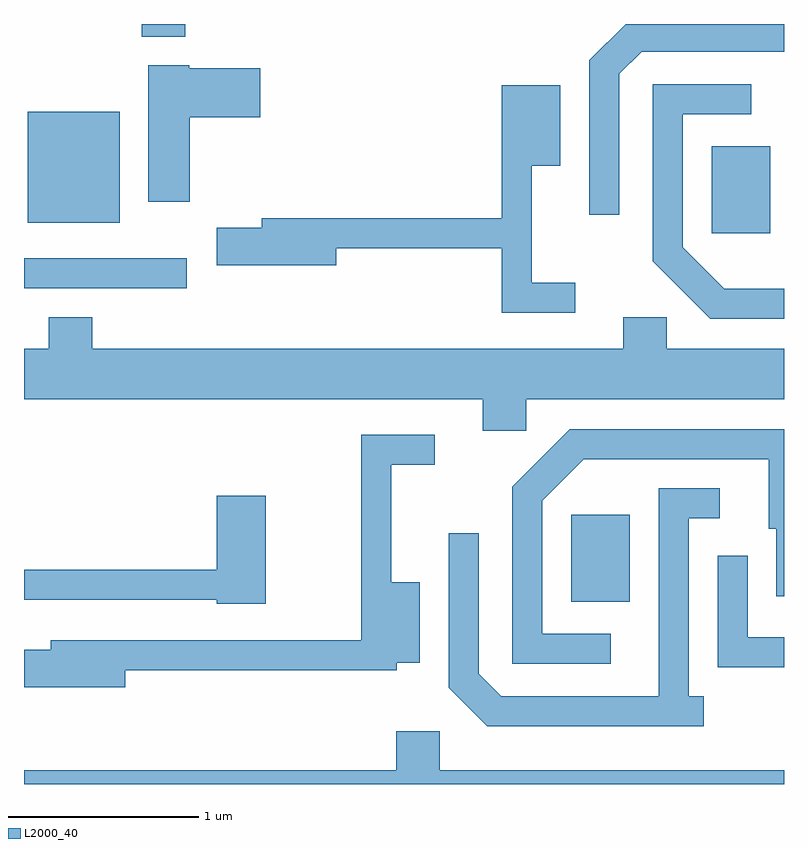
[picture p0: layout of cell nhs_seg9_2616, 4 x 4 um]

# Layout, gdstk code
import gdstk
lib = gdstk.Library(unit=1e-6, precision=1e-09)
def R(c, l, rs):  # rectangles x0, y0, x1, y1
    for r in rs: c.add(gdstk.rectangle(r[:2], r[2:], *l))
def P(c, l, *ps):  # polygons
    for p in ps: c.add(gdstk.Polygon(p, *l))
L2000_40 = (2000, 40)

nhs_seg9_2616 = lib.new_cell('nhs_seg9_2616')
R(nhs_seg9_2616, L2000_40, [(264.491,2017.391,264.799,2017.849), (261.611,2019.041,262.468,2019.199), (265.231,2019.331,265.539,2019.789), (261.631,2019.386,262.114,2019.969), (262.231,2020.366,262.459,2020.432)])
P(nhs_seg9_2616, L2000_40, [(264.744,2020.169),(264.862,2020.286),(265.611,2020.286),(265.611,2020.432),(264.777,2020.432),(264.586,2020.242),(264.586,2019.428),(264.744,2019.428)],
  [(262.484,2019.941),(262.854,2019.941),(262.854,2020.199),(262.48,2020.199),(262.48,2020.214),(262.266,2020.214),(262.266,2019.496),(262.484,2019.496)],
  [(265.611,2019.039),(265.297,2019.039),(265.079,2019.257),(265.079,2019.956),(265.438,2019.956),(265.438,2020.114),(264.921,2020.114),(264.921,2019.184),(265.224,2018.881),(265.611,2018.881)],
  [(264.513,2019.069),(264.284,2019.069),(264.284,2019.686),(264.434,2019.686),(264.434,2020.109),(264.126,2020.109),(264.126,2019.409),(262.861,2019.409),(262.861,2019.359),(262.626,2019.359),(262.626,2019.161),(263.254,2019.161),(263.254,2019.251),(264.126,2019.251),(264.126,2018.911),(264.513,2018.911)],
  [(264.254,2018.456),(265.611,2018.456),(265.611,2018.724),(264.994,2018.724),(264.994,2018.889),(264.766,2018.889),(264.766,2018.724),(261.969,2018.724),(261.969,2018.889),(261.741,2018.889),(261.741,2018.724),(261.611,2018.724),(261.611,2018.456),(264.026,2018.456),(264.026,2018.291),(264.254,2018.291)],
  [(264.698,2017.224),(264.339,2017.224),(264.339,2017.924),(264.557,2018.141),(265.531,2018.141),(265.531,2017.776),(265.571,2017.776),(265.571,2017.421),(265.611,2017.421),(265.611,2018.299),(264.484,2018.299),(264.181,2017.997),(264.181,2017.066),(264.698,2017.066)],
  [(262.144,2017.031),(263.574,2017.031),(263.574,2017.071),(263.694,2017.071),(263.694,2017.494),(263.544,2017.494),(263.544,2018.111),(263.773,2018.111),(263.773,2018.269),(263.386,2018.269),(263.386,2017.189),(261.751,2017.189),(261.751,2017.139),(261.611,2017.139),(261.611,2016.941),(262.144,2016.941)],
  [(265.188,2016.894),(265.109,2016.894),(265.109,2017.831),(265.273,2017.831),(265.273,2017.989),(264.951,2017.989),(264.951,2016.894),(264.122,2016.894),(264.004,2017.012),(264.004,2017.753),(263.846,2017.753),(263.846,2016.939),(264.049,2016.736),(265.188,2016.736)],
  [(262.884,2017.949),(262.626,2017.949),(262.626,2017.559),(261.611,2017.559),(261.611,2017.401),(262.626,2017.401),(262.626,2017.381),(262.884,2017.381)],
  [(265.611,2017.204),(265.419,2017.204),(265.419,2017.633),(265.261,2017.633),(265.261,2017.046),(265.611,2017.046)],
  [(265.611,2016.504),(263.799,2016.504),(263.799,2016.709),(263.571,2016.709),(263.571,2016.504),(261.611,2016.504),(261.611,2016.432),(265.611,2016.432)])

lib.write_gds('nhs_seg9_2616.gds')
